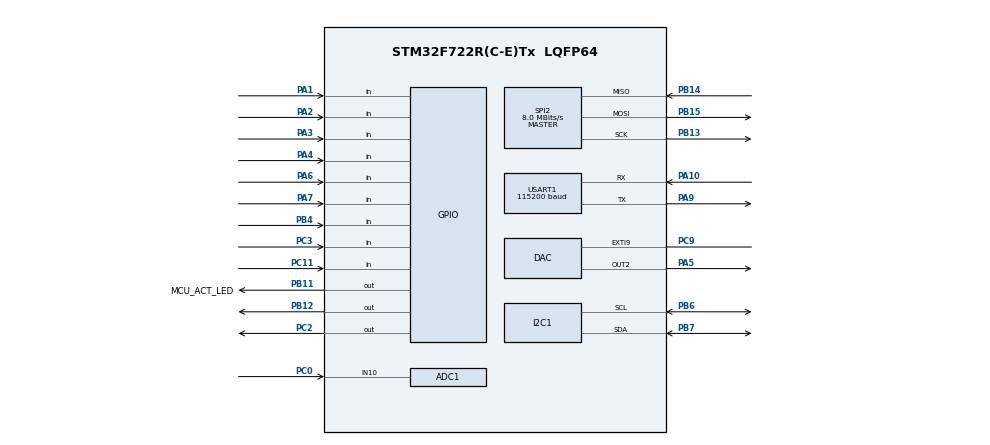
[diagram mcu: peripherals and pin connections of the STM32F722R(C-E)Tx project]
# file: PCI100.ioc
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ADC1.Channel-0\#ChannelRegularConversion=ADC_CHANNEL_10
ADC1.NbrOfConversionFlag=1
ADC1.Rank-0\#ChannelRegularConversion=1
ADC1.SamplingTime-0\#ChannelRegularConversion=ADC_SAMPLETIME_3CYCLES
ADC1.master=1
CORTEX_M7.default_mode_Activation=1
Dma.I2C1_RX.1.Direction=DMA_PERIPH_TO_MEMORY
Dma.I2C1_RX.1.FIFOMode=DMA_FIFOMODE_DISABLE
Dma.I2C1_RX.1.Instance=DMA1_Stream0
Dma.I2C1_RX.1.MemDataAlignment=DMA_MDATAALIGN_BYTE
Dma.I2C1_RX.1.MemInc=DMA_MINC_ENABLE
Dma.I2C1_RX.1.Mode=DMA_NORMAL
Dma.I2C1_RX.1.PeriphDataAlignment=DMA_PDATAALIGN_BYTE
Dma.I2C1_RX.1.PeriphInc=DMA_PINC_DISABLE
Dma.I2C1_RX.1.Priority=DMA_PRIORITY_LOW
Dma.I2C1_TX.0.Direction=DMA_MEMORY_TO_PERIPH
Dma.I2C1_TX.0.FIFOMode=DMA_FIFOMODE_DISABLE
Dma.I2C1_TX.0.Instance=DMA1_Stream6
Dma.I2C1_TX.0.MemDataAlignment=DMA_MDATAALIGN_BYTE
Dma.I2C1_TX.0.MemInc=DMA_MINC_ENABLE
Dma.I2C1_TX.0.Mode=DMA_NORMAL
Dma.I2C1_TX.0.PeriphDataAlignment=DMA_PDATAALIGN_BYTE
Dma.I2C1_TX.0.PeriphInc=DMA_PINC_DISABLE
Dma.I2C1_TX.0.Priority=DMA_PRIORITY_LOW
Dma.Request0=I2C1_TX
Dma.Request1=I2C1_RX
Dma.Request2=USART1_RX
Dma.Request3=USART1_TX
Dma.USART1_RX.2.Direction=DMA_PERIPH_TO_MEMORY
Dma.USART1_RX.2.FIFOMode=DMA_FIFOMODE_DISABLE
Dma.USART1_RX.2.Instance=DMA2_Stream2
Dma.USART1_RX.2.MemDataAlignment=DMA_MDATAALIGN_BYTE
Dma.USART1_RX.2.MemInc=DMA_MINC_ENABLE
Dma.USART1_RX.2.Mode=DMA_NORMAL
Dma.USART1_RX.2.PeriphDataAlignment=DMA_PDATAALIGN_BYTE
Dma.USART1_RX.2.PeriphInc=DMA_PINC_DISABLE
Dma.USART1_RX.2.Priority=DMA_PRIORITY_LOW
Dma.USART1_TX.3.Direction=DMA_MEMORY_TO_PERIPH
Dma.USART1_TX.3.FIFOMode=DMA_FIFOMODE_DISABLE
Dma.USART1_TX.3.Instance=DMA2_Stream7
Dma.USART1_TX.3.MemDataAlignment=DMA_MDATAALIGN_BYTE
Dma.USART1_TX.3.MemInc=DMA_MINC_ENABLE
Dma.USART1_TX.3.Mode=DMA_NORMAL
Dma.USART1_TX.3.PeriphDataAlignment=DMA_PDATAALIGN_BYTE
Dma.USART1_TX.3.PeriphInc=DMA_PINC_DISABLE
Dma.USART1_TX.3.Priority=DMA_PRIORITY_LOW
Mcu.Family=STM32F7
Mcu.Name=STM32F722R(C-E)Tx
Mcu.Package=LQFP64
Mcu.UserConstants=PEX_SLAVE_ADDRESS,0x5E
NVIC.DMA1_Stream0_IRQn=true\:0\:0\:false\:false\:true\:false\:true\:true
NVIC.DMA1_Stream6_IRQn=true\:0\:0\:false\:false\:true\:false\:true\:true
NVIC.DMA2_Stream2_IRQn=true\:0\:0\:false\:false\:true\:false\:true\:true
NVIC.DMA2_Stream7_IRQn=true\:0\:0\:false\:false\:true\:false\:true\:true
NVIC.I2C1_ER_IRQn=true\:0\:0\:false\:false\:true\:true\:true\:true
NVIC.I2C1_EV_IRQn=true\:0\:0\:false\:false\:true\:true\:true\:true
NVIC.PriorityGroup=NVIC_PRIORITYGROUP_4
NVIC.SPI2_IRQn=true\:0\:0\:false\:false\:true\:true\:true\:true
NVIC.USART1_IRQn=true\:0\:0\:false\:false\:true\:true\:true\:true
PA0-WKUP.Mode=SYS_WakeUp0
PA0-WKUP.Signal=SYS_WKUP1
PA1.GPIO_PuPd=GPIO_PULLUP
PA1.Signal=GPIO_Input
PA10.Mode=Asynchronous
PA10.Signal=USART1_RX
PA13.Mode=Trace_Asynchronous_SW
PA13.Signal=SYS_JTMS-SWDIO
PA14.Mode=Trace_Asynchronous_SW
PA14.Signal=SYS_JTCK-SWCLK
PA2.GPIO_PuPd=GPIO_PULLUP
PA2.Signal=GPIO_Input
PA3.GPIO_PuPd=GPIO_PULLUP
PA3.Signal=GPIO_Input
PA4.GPIO_PuPd=GPIO_PULLUP
PA4.Signal=GPIO_Input
PA5.Signal=COMP_DAC2_group
PA6.GPIO_PuPd=GPIO_PULLUP
PA6.Signal=GPIO_Input
PA7.GPIO_PuPd=GPIO_PULLUP
PA7.Signal=GPIO_Input
PA9.Mode=Asynchronous
PA9.Signal=USART1_TX
PB11.GPIO_Label=MCU_ACT_LED
PB11.GPIO_PuPd=GPIO_PULLUP
PB11.Signal=GPIO_Output
PB12.GPIO_PuPd=GPIO_PULLUP
PB12.Signal=GPIO_Output
PB13.GPIO_PuPd=GPIO_PULLUP
PB13.Mode=Full_Duplex_Master
PB13.Signal=SPI2_SCK
PB14.GPIO_PuPd=GPIO_PULLUP
PB14.Mode=Full_Duplex_Master
PB14.Signal=SPI2_MISO
PB15.GPIO_PuPd=GPIO_PULLUP
PB15.Mode=Full_Duplex_Master
PB15.Signal=SPI2_MOSI
PB3.Mode=Trace_Asynchronous_SW
PB3.Signal=SYS_JTDO-SWO
PB4.GPIO_PuPd=GPIO_PULLUP
PB4.Signal=GPIO_Input
PB6.GPIO_Pu=GPIO_PULLUP
PB6.Mode=I2C
PB6.Signal=I2C1_SCL
PB7.GPIO_Pu=GPIO_PULLUP
PB7.Mode=I2C
PB7.Signal=I2C1_SDA
PC0.Signal=ADCx_IN10
PC11.Signal=GPIO_Input
PC2.GPIO_PuPd=GPIO_PULLUP
PC2.Signal=GPIO_Output
PC3.GPIO_PuPd=GPIO_PULLUP
PC3.Signal=GPIO_Input
PC9.GPIO_PuPd=GPIO_PULLUP
PC9.Signal=GPXTI9
PH0-OSC_IN.Mode=HSE-External-Oscillator
PH0-OSC_IN.Signal=RCC_OSC_IN
PH1-OSC_OUT.Mode=HSE-External-Oscillator
PH1-OSC_OUT.Signal=RCC_OSC_OUT
ProjectManager.HeapSize=0x200
ProjectManager.StackSize=0x400
ProjectManager.TargetToolchain=STM32CubeIDE
RCC.HSE_VALUE=25000000
RCC.HSI_VALUE=16000000
RCC.LSE_VALUE=32768
RCC.USBFreq_Value=96000000
RCC.VCOOutputFreq_Value=192000000
SH.ADCx_IN10.0=ADC1_IN10,IN10
SH.COMP_DAC2_group.0=DAC_OUT2,DAC_OUT2
SPI2.CalculateBaudRate=8.0 MBits/s
SPI2.Direction=SPI_DIRECTION_2LINES
SPI2.Mode=SPI_MODE_MASTER
SPI2.VirtualType=VM_MASTER
USART1.BaudRate=115200
USART1.VirtualMode-Asynchronous=VM_ASYNC
board=custom

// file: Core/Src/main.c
/* USER CODE BEGIN Header */
/**
  ******************************************************************************
  * @file           : main.c
  * @brief          : Main program body
  ******************************************************************************
  * @attention
  *
  * Copyright (c) 2025 STMicroelectronics.
  * All rights reserved.
  *
  * This software is licensed under terms that can be found in the LICENSE file
  * in the root directory of this software component.
  * If no LICENSE file comes with this software, it is provided AS-IS.
  *
  ******************************************************************************
  */
/* USER CODE END Header */
#include "main.h"

/* USER CODE BEGIN Includes */
#include <string.h>
#include "led/led.h"
#include "dac/dac.h"
#include "bsp/bsp.h"
#include "cmd/cmd.h"
#include "pex/pex.h"
#include "fifo/fifo.h"

/* USER CODE END Includes */

ADC_HandleTypeDef hadc1;

DAC_HandleTypeDef hdac;

I2C_HandleTypeDef hi2c1;
DMA_HandleTypeDef hdma_i2c1_tx;
DMA_HandleTypeDef hdma_i2c1_rx;

SPI_HandleTypeDef hspi2;

UART_HandleTypeDef huart1;
DMA_HandleTypeDef hdma_usart1_rx;
DMA_HandleTypeDef hdma_usart1_tx;

void SystemClock_Config(void);
static void MPU_Config(void);
static void MX_GPIO_Init(void);
static void MX_DMA_Init(void);
static void MX_I2C1_Init(void);
static void MX_USART1_UART_Init(void);
static void MX_ADC1_Init(void);
static void MX_DAC_Init(void);
static void MX_SPI2_Init(void);

/* USER CODE BEGIN 0 */

static bsp_t bsp;

PUTCHAR_PROTOTYPE
{
  HAL_UART_Transmit(bsp.huartx, (uint8_t *)&ch, 1, UART_TRANSMIT_TIMEOUT);
  return ch;
}

#define UART_BAUD_RATE 115200

void HAL_UART_RxCpltCallback(UART_HandleTypeDef *huart)
{
	fifo_set(bsp.engine.uart_buffer, bsp.rx_buf[0]);
}

void HAL_UART_ErrorCallback(UART_HandleTypeDef *huart)
{
	HAL_UART_RxCpltCallback(huart);
}

/* USER CODE END 0 */

int main(void)
{

  /* MPU Configuration--------------------------------------------------------*/
  MPU_Config();

  /* MCU Configuration--------------------------------------------------------*/

  /* Reset of all peripherals, Initializes the Flash interface and the Systick. */
  HAL_Init();

  /* Configure the system clock */
  SystemClock_Config();

  /* USER CODE BEGIN SysInit */

  bsp_init(&bsp, &hdac, &hadc1, &huart1, &hi2c1);

  /* USER CODE END SysInit */

  /* Initialize all configured peripherals */
  MX_GPIO_Init();
  MX_DMA_Init();
  MX_I2C1_Init();
  MX_USART1_UART_Init();
  MX_ADC1_Init();
  MX_DAC_Init();
  MX_SPI2_Init();

  /* Infinite loop */
  /* USER CODE BEGIN WHILE */

  while (1)
  {
	  bsp_run(&bsp);
    /* USER CODE END WHILE */

  }
}

void SystemClock_Config(void)
{
  RCC_OscInitTypeDef RCC_OscInitStruct = {0};
  RCC_ClkInitTypeDef RCC_ClkInitStruct = {0};

  /** Configure the main internal regulator output voltage
  */
  __HAL_RCC_PWR_CLK_ENABLE();
  __HAL_PWR_VOLTAGESCALING_CONFIG(PWR_REGULATOR_VOLTAGE_SCALE3);

  /** Initializes the RCC Oscillators according to the specified parameters
  * in the RCC_OscInitTypeDef structure.
  */
  RCC_OscInitStruct.OscillatorType = RCC_OSCILLATORTYPE_HSI;
  RCC_OscInitStruct.HSIState = RCC_HSI_ON;
  RCC_OscInitStruct.HSICalibrationValue = RCC_HSICALIBRATION_DEFAULT;
  RCC_OscInitStruct.PLL.PLLState = RCC_PLL_NONE;
  if (HAL_RCC_OscConfig(&RCC_OscInitStruct) != HAL_OK)
  {
    Error_Handler();
  }

  /** Initializes the CPU, AHB and APB buses clocks
  */
  RCC_ClkInitStruct.ClockType = RCC_CLOCKTYPE_HCLK|RCC_CLOCKTYPE_SYSCLK
                              |RCC_CLOCKTYPE_PCLK1|RCC_CLOCKTYPE_PCLK2;
  RCC_ClkInitStruct.SYSCLKSource = RCC_SYSCLKSOURCE_HSI;
  RCC_ClkInitStruct.AHBCLKDivider = RCC_SYSCLK_DIV1;
  RCC_ClkInitStruct.APB1CLKDivider = RCC_HCLK_DIV1;
  RCC_ClkInitStruct.APB2CLKDivider = RCC_HCLK_DIV1;

  if (HAL_RCC_ClockConfig(&RCC_ClkInitStruct, FLASH_LATENCY_0) != HAL_OK)
  {
    Error_Handler();
  }
}

static void MX_ADC1_Init(void)
{

  ADC_ChannelConfTypeDef sConfig = {0};

  /** Configure the global features of the ADC (Clock, Resolution, Data Alignment and number of conversion)
  */
  hadc1.Instance = ADC1;
  hadc1.Init.ClockPrescaler = ADC_CLOCK_SYNC_PCLK_DIV2;
  hadc1.Init.Resolution = ADC_RESOLUTION_12B;
  hadc1.Init.ScanConvMode = ADC_SCAN_DISABLE;
  hadc1.Init.ContinuousConvMode = DISABLE;
  hadc1.Init.DiscontinuousConvMode = DISABLE;
  hadc1.Init.ExternalTrigConvEdge = ADC_EXTERNALTRIGCONVEDGE_NONE;
  hadc1.Init.ExternalTrigConv = ADC_SOFTWARE_START;
  hadc1.Init.DataAlign = ADC_DATAALIGN_RIGHT;
  hadc1.Init.NbrOfConversion = 1;
  hadc1.Init.DMAContinuousRequests = DISABLE;
  hadc1.Init.EOCSelection = ADC_EOC_SINGLE_CONV;
  if (HAL_ADC_Init(&hadc1) != HAL_OK)
  {
    Error_Handler();
  }

  /** Configure for the selected ADC regular channel its corresponding rank in the sequencer and its sample time.
  */
  sConfig.Channel = ADC_CHANNEL_10;
  sConfig.Rank = ADC_REGULAR_RANK_1;
  sConfig.SamplingTime = ADC_SAMPLETIME_3CYCLES;
  if (HAL_ADC_ConfigChannel(&hadc1, &sConfig) != HAL_OK)
  {
    Error_Handler();
  }

}

static void MX_DAC_Init(void)
{

  DAC_ChannelConfTypeDef sConfig = {0};

  /** DAC Initialization
  */
  hdac.Instance = DAC;
  if (HAL_DAC_Init(&hdac) != HAL_OK)
  {
    Error_Handler();
  }

  /** DAC channel OUT2 config
  */
  sConfig.DAC_Trigger = DAC_TRIGGER_NONE;
  sConfig.DAC_OutputBuffer = DAC_OUTPUTBUFFER_ENABLE;
  if (HAL_DAC_ConfigChannel(&hdac, &sConfig, DAC_CHANNEL_2) != HAL_OK)
  {
    Error_Handler();
  }

}

static void MX_I2C1_Init(void)
{

  hi2c1.Instance = I2C1;
  hi2c1.Init.Timing = 0x00303D5B;
  hi2c1.Init.OwnAddress1 = 0;
  hi2c1.Init.AddressingMode = I2C_ADDRESSINGMODE_7BIT;
  hi2c1.Init.DualAddressMode = I2C_DUALADDRESS_DISABLE;
  hi2c1.Init.OwnAddress2 = 0;
  hi2c1.Init.OwnAddress2Masks = I2C_OA2_NOMASK;
  hi2c1.Init.GeneralCallMode = I2C_GENERALCALL_DISABLE;
  hi2c1.Init.NoStretchMode = I2C_NOSTRETCH_DISABLE;
  if (HAL_I2C_Init(&hi2c1) != HAL_OK)
  {
    Error_Handler();
  }

  /** Configure Analogue filter
  */
  if (HAL_I2CEx_ConfigAnalogFilter(&hi2c1, I2C_ANALOGFILTER_ENABLE) != HAL_OK)
  {
    Error_Handler();
  }

  /** Configure Digital filter
  */
  if (HAL_I2CEx_ConfigDigitalFilter(&hi2c1, 0) != HAL_OK)
  {
    Error_Handler();
  }
  /* USER CODE BEGIN I2C1_Init 2 */

  HAL_GPIO_WritePin(GPIOC, GPIO_PIN_2, GPIO_PIN_SET);

  /* USER CODE END I2C1_Init 2 */

}

static void MX_SPI2_Init(void)
{

  /* SPI2 parameter configuration*/
  hspi2.Instance = SPI2;
  hspi2.Init.Mode = SPI_MODE_MASTER;
  hspi2.Init.Direction = SPI_DIRECTION_2LINES;
  hspi2.Init.DataSize = SPI_DATASIZE_4BIT;
  hspi2.Init.CLKPolarity = SPI_POLARITY_LOW;
  hspi2.Init.CLKPhase = SPI_PHASE_1EDGE;
  hspi2.Init.NSS = SPI_NSS_SOFT;
  hspi2.Init.BaudRatePrescaler = SPI_BAUDRATEPRESCALER_2;
  hspi2.Init.FirstBit = SPI_FIRSTBIT_MSB;
  hspi2.Init.TIMode = SPI_TIMODE_DISABLE;
  hspi2.Init.CRCCalculation = SPI_CRCCALCULATION_DISABLE;
  hspi2.Init.CRCPolynomial = 7;
  hspi2.Init.CRCLength = SPI_CRC_LENGTH_DATASIZE;
  hspi2.Init.NSSPMode = SPI_NSS_PULSE_ENABLE;
  if (HAL_SPI_Init(&hspi2) != HAL_OK)
  {
    Error_Handler();
  }

}

static void MX_USART1_UART_Init(void)
{

  huart1.Instance = USART1;
  huart1.Init.BaudRate = 115200;
  huart1.Init.WordLength = UART_WORDLENGTH_8B;
  huart1.Init.StopBits = UART_STOPBITS_1;
  huart1.Init.Parity = UART_PARITY_NONE;
  huart1.Init.Mode = UART_MODE_TX_RX;
  huart1.Init.HwFlowCtl = UART_HWCONTROL_NONE;
  huart1.Init.OverSampling = UART_OVERSAMPLING_16;
  huart1.Init.OneBitSampling = UART_ONE_BIT_SAMPLE_DISABLE;
  huart1.AdvancedInit.AdvFeatureInit = UART_ADVFEATURE_NO_INIT;
  if (HAL_UART_Init(&huart1) != HAL_OK)
  {
    Error_Handler();
  }
  /* USER CODE BEGIN USART1_Init 2 */

	HAL_UART_Receive_DMA(&huart1, bsp.rx_buf, UART_RX_BUFFER_SIZE);

  /* USER CODE END USART1_Init 2 */

}

static void MX_DMA_Init(void)
{

  /* DMA controller clock enable */
  __HAL_RCC_DMA1_CLK_ENABLE();
  __HAL_RCC_DMA2_CLK_ENABLE();

  /* DMA interrupt init */
  /* DMA1_Stream0_IRQn interrupt configuration */
  HAL_NVIC_SetPriority(DMA1_Stream0_IRQn, 0, 0);
  HAL_NVIC_EnableIRQ(DMA1_Stream0_IRQn);
  /* DMA1_Stream6_IRQn interrupt configuration */
  HAL_NVIC_SetPriority(DMA1_Stream6_IRQn, 0, 0);
  HAL_NVIC_EnableIRQ(DMA1_Stream6_IRQn);
  /* DMA2_Stream2_IRQn interrupt configuration */
  HAL_NVIC_SetPriority(DMA2_Stream2_IRQn, 0, 0);
  HAL_NVIC_EnableIRQ(DMA2_Stream2_IRQn);
  /* DMA2_Stream7_IRQn interrupt configuration */
  HAL_NVIC_SetPriority(DMA2_Stream7_IRQn, 0, 0);
  HAL_NVIC_EnableIRQ(DMA2_Stream7_IRQn);

}

static void MX_GPIO_Init(void)
{
  GPIO_InitTypeDef GPIO_InitStruct = {0};

  /* GPIO Ports Clock Enable */
  __HAL_RCC_GPIOH_CLK_ENABLE();
  __HAL_RCC_GPIOC_CLK_ENABLE();
  __HAL_RCC_GPIOA_CLK_ENABLE();
  __HAL_RCC_GPIOB_CLK_ENABLE();

  /*Configure GPIO pin Output Level */
  HAL_GPIO_WritePin(GPIOC, GPIO_PIN_2, GPIO_PIN_RESET);

  /*Configure GPIO pin Output Level */
  HAL_GPIO_WritePin(GPIOB, MCU_ACT_LED_Pin|GPIO_PIN_12, GPIO_PIN_RESET);

  /*Configure GPIO pin : PC2 */
  GPIO_InitStruct.Pin = GPIO_PIN_2;
  GPIO_InitStruct.Mode = GPIO_MODE_OUTPUT_PP;
  GPIO_InitStruct.Pull = GPIO_PULLUP;
  GPIO_InitStruct.Speed = GPIO_SPEED_FREQ_LOW;
  HAL_GPIO_Init(GPIOC, &GPIO_InitStruct);

  /*Configure GPIO pin : PC3 */
  GPIO_InitStruct.Pin = GPIO_PIN_3;
  GPIO_InitStruct.Mode = GPIO_MODE_INPUT;
  GPIO_InitStruct.Pull = GPIO_PULLUP;
  HAL_GPIO_Init(GPIOC, &GPIO_InitStruct);

  /*Configure GPIO pins : PA1 PA2 PA3 PA4
                           PA6 PA7 */
  GPIO_InitStruct.Pin = GPIO_PIN_1|GPIO_PIN_2|GPIO_PIN_3|GPIO_PIN_4
                          |GPIO_PIN_6|GPIO_PIN_7;
  GPIO_InitStruct.Mode = GPIO_MODE_INPUT;
  GPIO_InitStruct.Pull = GPIO_PULLUP;
  HAL_GPIO_Init(GPIOA, &GPIO_InitStruct);

  /*Configure GPIO pins : MCU_ACT_LED_Pin PB12 */
  GPIO_InitStruct.Pin = MCU_ACT_LED_Pin|GPIO_PIN_12;
  GPIO_InitStruct.Mode = GPIO_MODE_OUTPUT_PP;
  GPIO_InitStruct.Pull = GPIO_PULLUP;
  GPIO_InitStruct.Speed = GPIO_SPEED_FREQ_LOW;
  HAL_GPIO_Init(GPIOB, &GPIO_InitStruct);

  /*Configure GPIO pin : PC9 */
  GPIO_InitStruct.Pin = GPIO_PIN_9;
  GPIO_InitStruct.Mode = GPIO_MODE_IT_RISING;
  GPIO_InitStruct.Pull = GPIO_PULLUP;
  HAL_GPIO_Init(GPIOC, &GPIO_InitStruct);

  /*Configure GPIO pin : PC11 */
  GPIO_InitStruct.Pin = GPIO_PIN_11;
  GPIO_InitStruct.Mode = GPIO_MODE_INPUT;
  GPIO_InitStruct.Pull = GPIO_NOPULL;
  HAL_GPIO_Init(GPIOC, &GPIO_InitStruct);

  /*Configure GPIO pin : PB4 */
  GPIO_InitStruct.Pin = GPIO_PIN_4;
  GPIO_InitStruct.Mode = GPIO_MODE_INPUT;
  GPIO_InitStruct.Pull = GPIO_PULLUP;
  HAL_GPIO_Init(GPIOB, &GPIO_InitStruct);

}

 /* MPU Configuration */

void MPU_Config(void)
{
  MPU_Region_InitTypeDef MPU_InitStruct = {0};

  /* Disables the MPU */
  HAL_MPU_Disable();

  /** Initializes and configures the Region and the memory to be protected
  */
  MPU_InitStruct.Enable = MPU_REGION_ENABLE;
  MPU_InitStruct.Number = MPU_REGION_NUMBER0;
  MPU_InitStruct.BaseAddress = 0x0;
  MPU_InitStruct.Size = MPU_REGION_SIZE_4GB;
  MPU_InitStruct.SubRegionDisable = 0x87;
  MPU_InitStruct.TypeExtField = MPU_TEX_LEVEL0;
  MPU_InitStruct.AccessPermission = MPU_REGION_NO_ACCESS;
  MPU_InitStruct.DisableExec = MPU_INSTRUCTION_ACCESS_DISABLE;
  MPU_InitStruct.IsShareable = MPU_ACCESS_SHAREABLE;
  MPU_InitStruct.IsCacheable = MPU_ACCESS_NOT_CACHEABLE;
  MPU_InitStruct.IsBufferable = MPU_ACCESS_NOT_BUFFERABLE;

  HAL_MPU_ConfigRegion(&MPU_InitStruct);
  /* Enables the MPU */
  HAL_MPU_Enable(MPU_PRIVILEGED_DEFAULT);

}

void Error_Handler(void)
{
  __disable_irq();
  while (1)
  {
  }
}
